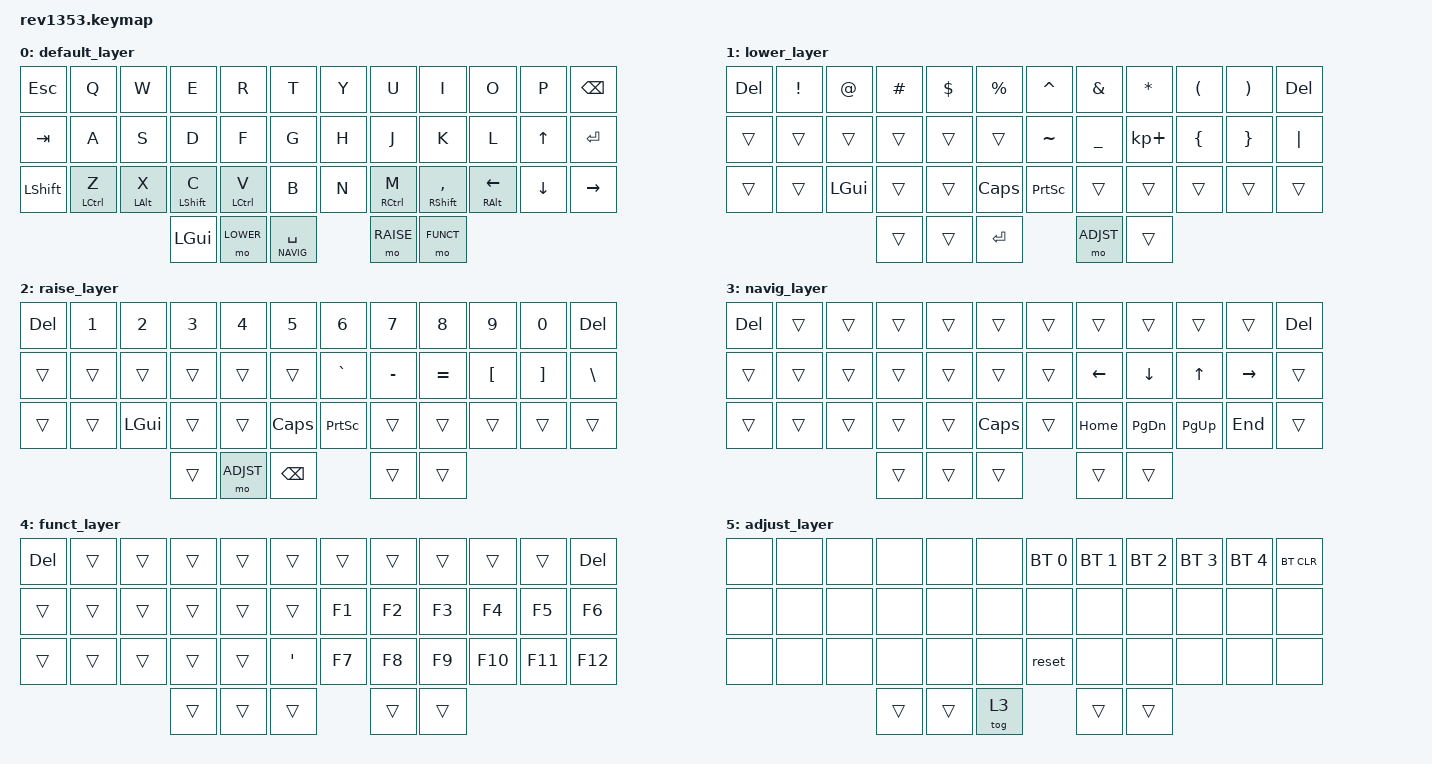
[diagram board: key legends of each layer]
/*
 * Copyright (c) 2020 The ZMK Contributors
 *
 * SPDX-License-Identifier: MIT
 */

#include <behaviors.dtsi>
#include <dt-bindings/zmk/keys.h>
#include <dt-bindings/zmk/bt.h>
#include <dt-bindings/zmk/rgb.h>

#define DEFAULT 0
#define LOWER   1
#define RAISE   2
#define NAVIG   3
#define FUNCT   4
#define ADJST   5

/ {
    behaviors {
        hm: homerow_mods {
            compatible = "zmk,behavior-hold-tap";
            label = "HOMEROW_MODS";
            #binding-cells = <2>;
            tapping-term-ms = <150>;
            quick_tap_ms = <0>;
            flavor = "tap-preferred";
            bindings = <&kp>, <&kp>;
        };
    };
    
        keymap {
                compatible = "zmk,keymap";

                default_layer {
            bindings = <
&kp ESCAPE  &kp Q        &kp W       &kp E        &kp R        &kp T                   &kp Y  &kp U        &kp I            &kp O                &kp P           &kp BSPC
&kp TAB     &kp A        &kp S       &kp D        &kp F        &kp G                   &kp H  &kp J        &kp K            &kp L                &kp UP_ARROW    &kp RET
&kp LSHFT   &hm LCTRL Z  &hm LALT X  &hm LSHFT C  &hm LCTRL V  &kp B                   &kp N  &hm RCTRL M  &hm RSHFT COMMA  &hm RALT LEFT_ARROW  &kp DOWN_ARROW  &kp RIGHT_ARROW
                                     &kp LGUI     &mo LOWER           &lt NAVIG SPACE         &mo RAISE    &mo FUNCT
                        >;
                };

                lower_layer {
                        bindings = <
   &kp DEL &kp EXCL &kp AT   &kp HASH &kp DLLR &kp PRCNT      &kp CARET &kp AMPS  &kp ASTRK   &kp LPAR  &kp RPAR  &kp DEL
   &trans  &trans   &trans   &trans   &trans   &trans         &kp TILDE &kp UNDER &kp KP_PLUS &kp LBRC  &kp RBRC  &kp PIPE
   &trans  &trans   &kp LGUI &trans   &trans   &kp CLCK       &kp PSCRN &trans    &trans      &trans    &trans    &trans
                                   &trans    &trans    &kp RET    &mo ADJST    &trans
                        >;
                };

                raise_layer {
                        bindings = <
   &kp DEL &kp N1   &kp N2   &kp N3   &kp N4   &kp N5         &kp N6    &kp N7    &kp N8    &kp N9    &kp N0    &kp DEL
   &trans  &trans   &trans   &trans   &trans   &trans         &kp GRAVE &kp MINUS &kp EQUAL &kp LBKT  &kp RBKT  &kp BSLH
   &trans  &trans   &kp LGUI &trans   &trans   &kp CLCK       &kp PSCRN &trans    &trans    &trans    &trans    &trans
                                   &trans  &mo ADJST &kp BSPC &trans  &trans
                        >;
                };

                navig_layer {
                        bindings = <
   &kp DEL &trans  &trans   &trans   &trans   &trans      &trans  &trans   &trans    &trans    &trans    &kp DEL
   &trans  &trans  &trans   &trans   &trans   &trans      &trans  &kp LEFT &kp DOWN  &kp UP    &kp RIGHT &trans
   &trans  &trans  &trans   &trans   &trans   &kp CLCK    &trans  &kp HOME &kp PG_DN &kp PG_UP &kp END   &trans
                                   &trans   &trans   &trans   &trans   &trans
                        >;
                };

                funct_layer {
                        bindings = <
   &kp DEL &trans  &trans   &trans   &trans   &trans      &trans    &trans    &trans    &trans    &trans    &kp DEL
   &trans  &trans  &trans   &trans   &trans   &trans      &kp F1    &kp F2    &kp F3    &kp F4    &kp F5    &kp F6
   &trans  &trans  &trans   &trans   &trans   &kp SQT     &kp F7    &kp F8    &kp F9    &kp F10   &kp F11   &kp F12
                                  &trans   &trans   &trans   &trans   &trans
                        >;
                };

                adjust_layer {
                        bindings = <
   &none   &none   &none   &none   &none   &none      &bt BT_SEL 0 &bt BT_SEL 1 &bt BT_SEL 2 &bt BT_SEL 3 &bt BT_SEL 4 &bt BT_CLR
   &none   &none   &none   &none   &none   &none      &none        &none        &none        &none        &none        &none
   &none   &none   &none   &none   &none   &none      &reset       &none        &none        &none        &none        &none
                       &trans      &trans       &tog 3        &trans      &trans
                        >;
                };
        };
};
